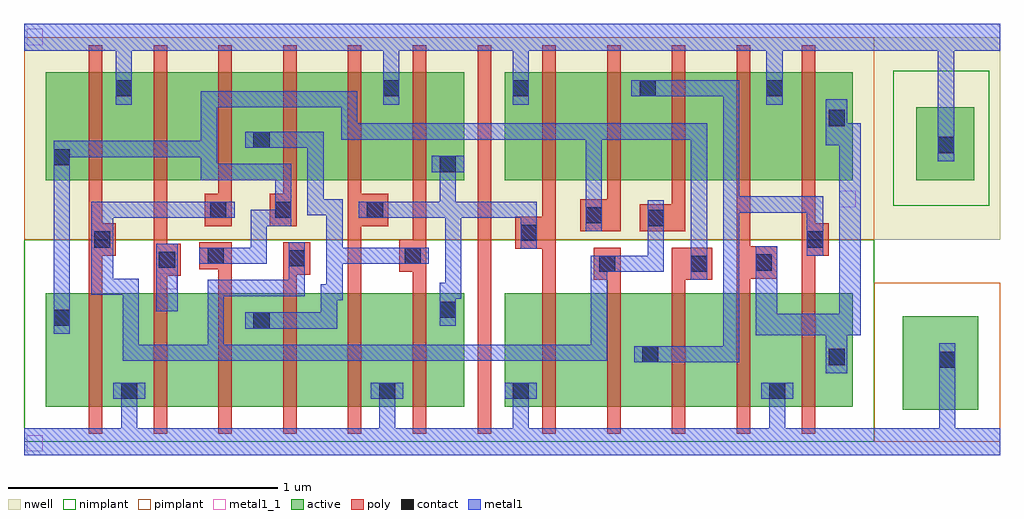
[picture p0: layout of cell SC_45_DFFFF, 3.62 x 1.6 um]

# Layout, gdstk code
import gdstk
lib = gdstk.Library(unit=1e-6, precision=5e-10)
def R(c, l, rs):  # rectangles x0, y0, x1, y1
    for r in rs: c.add(gdstk.rectangle(r[:2], r[2:], *l))
def A(c, l, x, y, w, h, nx, ny, dx, dy):  # array of equal rectangles
    R(c, l, [(x+i*dx, y+j*dy, x+i*dx+w, y+j*dy+h) for i in range(nx) for j in range(ny)])
active = (1, 0)
nwell = (2, 0)
poly = (3, 0)
nimplant = (4, 0)
pimplant = (5, 0)
contact = (6, 0)
metal1 = (7, 0)
metal1_1 = (7, 1)

tank = lib.new_cell('tank')
R(tank, active, [(0.105,0.12,0.385,0.465), (0.155,0.97,0.37,1.24)])
R(tank, nwell, [(0,0.75,0.465,1.5)])
R(tank, nimplant, [(0.07,0.875,0.425,1.375)])
R(tank, pimplant, [(0,0,0.465,0.59)])
R(tank, contact, [(0.24,0.275,0.3,0.335), (0.235,1.07,0.295,1.13)])
R(tank, metal1, [(0.24,0.245,0.3,0.365), (0.235,1.04,0.295,1.16)])
tank.add(gdstk.FlexPath([(0,1.5),(0.465,1.5)], 0.1, ends="flush", simple_path=True, layer=7, datatype=0))  # metal1
tank.add(gdstk.FlexPath([(0,0),(0.465,0)], 0.1, ends="flush", simple_path=True, layer=7, datatype=0))  # metal1
tank.add(gdstk.FlexPath([(0.265,1.16),(0.265,1.45)], 0.06, ends="flush", simple_path=True, layer=7, datatype=0))  # metal1
tank.add(gdstk.FlexPath([(0.27,0.245),(0.27,0.05)], 0.06, ends="flush", simple_path=True, layer=7, datatype=0))  # metal1

sc_45_dffff = lib.new_cell('SC_45_DFFFF')
R(sc_45_dffff, active, [(0.08,0.13,1.63,0.55), (1.78,0.13,3.07,0.55), (0.08,0.97,1.63,1.37), (1.78,0.97,3.07,1.37)])
R(sc_45_dffff, nwell, [(0,0.75,3.15,1.5)])
A(sc_45_dffff, poly, 1.2, 0.03, 0.05, 1.44, 4, 1, 0.24, 0)
R(sc_45_dffff, poly, [(0.24,0.03,0.29,1.47), (0.48,0.03,0.53,1.47), (0.72,0.03,0.77,0.74), (0.96,0.03,1.01,0.74), (2.16,0.03,2.21,0.72), (2.4,0.03,2.45,0.72), (2.64,0.03,2.69,1.47), (2.88,0.03,2.93,1.47), (2.11,0.6,2.21,0.72), (2.45,0.6,2.55,0.72), (2.69,0.605,2.79,0.725), (0.48,0.615,0.58,0.735), (0.96,0.62,1.06,0.74), (1.39,0.63,1.49,0.75), (0.65,0.64,0.77,0.74), (0.24,0.69,0.34,0.81), (2.88,0.69,2.98,0.81), (1.82,0.715,1.92,0.835), (2.06,0.78,2.16,0.9), (2.16,0.78,2.21,1.47), (2.28,0.78,2.4,0.88), (2.4,0.78,2.45,1.47), (0.67,0.8,0.77,0.92), (0.72,0.8,0.77,1.47), (0.91,0.8,1.01,0.92), (0.96,0.8,1.01,1.47), (1.25,0.8,1.35,0.92)])
R(sc_45_dffff, nimplant, [(0,0,3.15,0.75)])
R(sc_45_dffff, pimplant, [(0,0.75,3.15,1.5)])
A(sc_45_dffff, contact, 1.81, 1.28, 0.06, 0.06, 3, 1, 0.47, 0)
R(sc_45_dffff, contact, [(0.36,0.16,0.42,0.22), (1.315,0.16,1.375,0.22), (1.81,0.16,1.87,0.22), (2.76,0.16,2.82,0.22), (2.98,0.285,3.04,0.345), (2.29,0.295,2.35,0.355), (0.85,0.42,0.91,0.48), (0.11,0.43,0.17,0.49), (1.54,0.46,1.6,0.52), (2.13,0.63,2.19,0.69), (2.47,0.63,2.53,0.69), (2.71,0.635,2.77,0.695), (0.5,0.645,0.56,0.705), (0.98,0.65,1.04,0.71), (0.68,0.66,0.74,0.72), (1.41,0.66,1.47,0.72), (0.26,0.72,0.32,0.78), (2.9,0.72,2.96,0.78), (1.84,0.745,1.9,0.805), (2.31,0.8,2.37,0.86), (2.08,0.81,2.14,0.87), (0.69,0.83,0.75,0.89), (0.93,0.83,0.99,0.89), (1.27,0.83,1.33,0.89), (1.54,1,1.6,1.06), (0.11,1.025,0.17,1.085), (0.85,1.09,0.91,1.15), (2.98,1.17,3.04,1.23), (0.34,1.28,0.4,1.34), (1.33,1.28,1.39,1.34)])
R(sc_45_dffff, metal1, [(0.25,0.56,0.33,0.89)])
R(sc_45_dffff, metal1_1, [(0.01,-0.035,0.07,0.025), (0.505,0.565,0.565,0.625), (0.26,0.72,0.32,0.78), (3.02,0.87,3.08,0.93), (0.01,1.47,0.07,1.53)])
sc_45_dffff.add(gdstk.FlexPath([(3.15,1.5),(0,1.5)], 0.1, ends="flush", simple_path=True, layer=7, datatype=0))  # metal1
sc_45_dffff.add(gdstk.FlexPath([(3.15,0),(0,0)], 0.1, ends="flush", simple_path=True, layer=7, datatype=0))  # metal1
sc_45_dffff.add(gdstk.FlexPath([(3.01,1.27),(3.01,1.14)], 0.08, ends=(0, 0.04), simple_path=True, layer=7, datatype=0))  # metal1
sc_45_dffff.add(gdstk.FlexPath([(3.01,1.14),(3.06,1.14)], 0.08, ends="extended", simple_path=True, layer=7, datatype=0))  # metal1
sc_45_dffff.add(gdstk.FlexPath([(3.06,1.14),(3.06,0.435)], 0.08, ends="extended", simple_path=True, layer=7, datatype=0))  # metal1
sc_45_dffff.add(gdstk.FlexPath([(3.06,0.435),(3.01,0.435)], 0.08, ends="extended", simple_path=True, layer=7, datatype=0))  # metal1
sc_45_dffff.add(gdstk.FlexPath([(3.01,0.435),(3.01,0.255)], 0.08, ends=(0.04, 0), simple_path=True, layer=7, datatype=0))  # metal1
sc_45_dffff.add(gdstk.FlexPath([(2.85,0.19),(2.82,0.19)], 0.06, ends="flush", simple_path=True, layer=7, datatype=0))  # metal1
sc_45_dffff.add(gdstk.FlexPath([(2.79,0.22),(2.79,0.05)], 0.06, ends="flush", simple_path=True, layer=7, datatype=0))  # metal1
sc_45_dffff.add(gdstk.FlexPath([(2.78,1.45),(2.78,1.25)], 0.06, ends="flush", simple_path=True, layer=7, datatype=0))  # metal1
sc_45_dffff.add(gdstk.FlexPath([(2.75,0.435),(2.975,0.435)], 0.08, ends=(0.04, 0), simple_path=True, layer=7, datatype=0))  # metal1
sc_45_dffff.add(gdstk.FlexPath([(2.75,0.725),(2.75,0.435)], 0.08, ends=(0, 0.04), simple_path=True, layer=7, datatype=0))  # metal1
sc_45_dffff.add(gdstk.FlexPath([(2.73,0.19),(2.76,0.19)], 0.06, ends="flush", simple_path=True, layer=7, datatype=0))  # metal1
sc_45_dffff.add(gdstk.FlexPath([(2.34,0.66),(2.34,0.895)], 0.06, ends=(0.03, 0), simple_path=True, layer=7, datatype=0))  # metal1
sc_45_dffff.add(gdstk.FlexPath([(2.13,0.33),(2.13,0.66)], 0.06, ends="extended", simple_path=True, layer=7, datatype=0))  # metal1
sc_45_dffff.add(gdstk.FlexPath([(2.13,0.66),(2.34,0.66)], 0.06, ends="extended", simple_path=True, layer=7, datatype=0))  # metal1
sc_45_dffff.add(gdstk.FlexPath([(0.74,0.33),(2.13,0.33)], 0.06, ends=(0, 0.03), simple_path=True, layer=7, datatype=0))  # metal1
sc_45_dffff.add(gdstk.FlexPath([(1.9,0.19),(1.87,0.19)], 0.06, ends="flush", simple_path=True, layer=7, datatype=0))  # metal1
sc_45_dffff.add(gdstk.FlexPath([(1.84,0.22),(1.84,0.05)], 0.06, ends="flush", simple_path=True, layer=7, datatype=0))  # metal1
sc_45_dffff.add(gdstk.FlexPath([(1.84,1.45),(1.84,1.25)], 0.06, ends="flush", simple_path=True, layer=7, datatype=0))  # metal1
sc_45_dffff.add(gdstk.FlexPath([(1.78,0.19),(1.81,0.19)], 0.06, ends="flush", simple_path=True, layer=7, datatype=0))  # metal1
sc_45_dffff.add(gdstk.FlexPath([(1.405,0.19),(1.375,0.19)], 0.06, ends="flush", simple_path=True, layer=7, datatype=0))  # metal1
sc_45_dffff.add(gdstk.FlexPath([(1.36,1.45),(1.36,1.25)], 0.06, ends="flush", simple_path=True, layer=7, datatype=0))  # metal1
sc_45_dffff.add(gdstk.FlexPath([(1.345,0.22),(1.345,0.05)], 0.06, ends="flush", simple_path=True, layer=7, datatype=0))  # metal1
sc_45_dffff.add(gdstk.FlexPath([(1.285,0.19),(1.315,0.19)], 0.06, ends="flush", simple_path=True, layer=7, datatype=0))  # metal1
sc_45_dffff.add(gdstk.FlexPath([(0.33,0.86),(0.78,0.86)], 0.06, ends="flush", simple_path=True, layer=7, datatype=0))  # metal1
sc_45_dffff.add(gdstk.FlexPath([(0.53,0.485),(0.53,0.735)], 0.08, ends="flush", simple_path=True, layer=7, datatype=0))  # metal1
sc_45_dffff.add(gdstk.FlexPath([(0.45,0.19),(0.42,0.19)], 0.06, ends="flush", simple_path=True, layer=7, datatype=0))  # metal1
sc_45_dffff.add(gdstk.FlexPath([(1.01,0.57),(1.01,0.74)], 0.06, ends=(0.03, 0), simple_path=True, layer=7, datatype=0))  # metal1
sc_45_dffff.add(gdstk.FlexPath([(0.71,0.57),(1.01,0.57)], 0.06, ends="extended", simple_path=True, layer=7, datatype=0))  # metal1
sc_45_dffff.add(gdstk.FlexPath([(0.395,0.33),(0.71,0.33)], 0.06, ends="extended", simple_path=True, layer=7, datatype=0))  # metal1
sc_45_dffff.add(gdstk.FlexPath([(0.71,0.33),(0.71,0.57)], 0.06, ends="extended", simple_path=True, layer=7, datatype=0))  # metal1
sc_45_dffff.add(gdstk.FlexPath([(0.395,0.575),(0.395,0.33)], 0.06, ends="extended", simple_path=True, layer=7, datatype=0))  # metal1
sc_45_dffff.add(gdstk.FlexPath([(0.25,0.575),(0.395,0.575)], 0.06, ends=(0, 0.03), simple_path=True, layer=7, datatype=0))  # metal1
sc_45_dffff.add(gdstk.FlexPath([(0.39,0.22),(0.39,0.05)], 0.06, ends="flush", simple_path=True, layer=7, datatype=0))  # metal1
sc_45_dffff.add(gdstk.FlexPath([(0.37,1.45),(0.37,1.25)], 0.06, ends="flush", simple_path=True, layer=7, datatype=0))  # metal1
sc_45_dffff.add(gdstk.FlexPath([(0.33,0.19),(0.36,0.19)], 0.06, ends="flush", simple_path=True, layer=7, datatype=0))  # metal1
sc_45_dffff.add(gdstk.FlexPath([(2.93,0.69),(2.93,0.88)], 0.06, ends=(0, 0.03), simple_path=True, layer=7, datatype=0))  # metal1
sc_45_dffff.add(gdstk.FlexPath([(2.93,0.88),(2.65,0.88)], 0.06, ends=(0.03, 0), simple_path=True, layer=7, datatype=0))  # metal1
sc_45_dffff.add(gdstk.FlexPath([(2.26,0.325),(2.62,0.325)], 0.06, ends=(0, 0.03), simple_path=True, layer=7, datatype=0))  # metal1
sc_45_dffff.add(gdstk.FlexPath([(2.62,0.325),(2.62,1.31)], 0.06, ends="extended", simple_path=True, layer=7, datatype=0))  # metal1
sc_45_dffff.add(gdstk.FlexPath([(2.62,1.31),(2.25,1.31)], 0.06, ends=(0.03, 0), simple_path=True, layer=7, datatype=0))  # metal1
sc_45_dffff.add(gdstk.FlexPath([(2.5,1.15),(2.5,0.6)], 0.06, ends=(0.03, 0), simple_path=True, layer=7, datatype=0))  # metal1
sc_45_dffff.add(gdstk.FlexPath([(2.11,0.78),(2.11,1.14)], 0.06, ends="flush", simple_path=True, layer=7, datatype=0))  # metal1
sc_45_dffff.add(gdstk.FlexPath([(1.59,0.86),(1.87,0.86)], 0.06, ends="extended", simple_path=True, layer=7, datatype=0))  # metal1
sc_45_dffff.add(gdstk.FlexPath([(1.87,0.86),(1.87,0.715)], 0.06, ends=(0.03, 0), simple_path=True, layer=7, datatype=0))  # metal1
sc_45_dffff.add(gdstk.FlexPath([(1.24,0.86),(1.59,0.86)], 0.06, ends=(0, 0.03), simple_path=True, layer=7, datatype=0))  # metal1
sc_45_dffff.add(gdstk.FlexPath([(1.59,0.56),(1.59,0.86)], 0.06, ends="extended", simple_path=True, layer=7, datatype=0))  # metal1
sc_45_dffff.add(gdstk.FlexPath([(1.57,0.56),(1.59,0.56)], 0.06, ends="extended", simple_path=True, layer=7, datatype=0))  # metal1
sc_45_dffff.add(gdstk.FlexPath([(1.57,0.43),(1.57,0.56)], 0.06, ends=(0, 0.03), simple_path=True, layer=7, datatype=0))  # metal1
sc_45_dffff.add(gdstk.FlexPath([(1.57,1.03),(1.57,0.89)], 0.06, ends=(0.03, 0), simple_path=True, layer=7, datatype=0))  # metal1
sc_45_dffff.add(gdstk.FlexPath([(1.57,1.03),(1.63,1.03)], 0.06, ends=(0.03, 0), simple_path=True, layer=7, datatype=0))  # metal1
sc_45_dffff.add(gdstk.FlexPath([(1.51,1.03),(1.57,1.03)], 0.06, ends=(0, 0.03), simple_path=True, layer=7, datatype=0))  # metal1
sc_45_dffff.add(gdstk.FlexPath([(1.18,0.69),(1.5,0.69)], 0.06, ends="flush", simple_path=True, layer=7, datatype=0))  # metal1
sc_45_dffff.add(gdstk.FlexPath([(1.15,0.87),(1.08,0.87)], 0.06, ends="extended", simple_path=True, layer=7, datatype=0))  # metal1
sc_45_dffff.add(gdstk.FlexPath([(1.08,0.87),(1.08,1.12)], 0.06, ends="extended", simple_path=True, layer=7, datatype=0))  # metal1
sc_45_dffff.add(gdstk.FlexPath([(1.13,0.45),(0.82,0.45)], 0.06, ends=(0.03, 0), simple_path=True, layer=7, datatype=0))  # metal1
sc_45_dffff.add(gdstk.FlexPath([(1.13,0.555),(1.13,0.45)], 0.06, ends="extended", simple_path=True, layer=7, datatype=0))  # metal1
sc_45_dffff.add(gdstk.FlexPath([(1.15,0.555),(1.13,0.555)], 0.06, ends="extended", simple_path=True, layer=7, datatype=0))  # metal1
sc_45_dffff.add(gdstk.FlexPath([(1.15,0.825),(1.15,0.555)], 0.06, ends=(0, 0.03), simple_path=True, layer=7, datatype=0))  # metal1
sc_45_dffff.add(gdstk.FlexPath([(1.15,0.825),(1.15,0.87)], 0.06, ends=(0, 0.03), simple_path=True, layer=7, datatype=0))  # metal1
sc_45_dffff.add(gdstk.FlexPath([(1.08,1.12),(0.82,1.12)], 0.06, ends=(0.03, 0), simple_path=True, layer=7, datatype=0))  # metal1
sc_45_dffff.add(gdstk.FlexPath([(0.93,0.83),(0.87,0.83)], 0.06, ends=(0, 0.03), simple_path=True, layer=7, datatype=0))  # metal1
sc_45_dffff.add(gdstk.FlexPath([(0.87,0.83),(0.87,0.69)], 0.06, ends="extended", simple_path=True, layer=7, datatype=0))  # metal1
sc_45_dffff.add(gdstk.FlexPath([(0.87,0.69),(0.65,0.69)], 0.06, ends=(0.03, 0), simple_path=True, layer=7, datatype=0))  # metal1
sc_45_dffff.add(gdstk.FlexPath([(0.685,1),(0.96,1)], 0.06, ends="extended", simple_path=True, layer=7, datatype=0))  # metal1
sc_45_dffff.add(gdstk.FlexPath([(0.96,0.83),(0.96,0.8)], 0.06, ends=(0.03, 0), simple_path=True, layer=7, datatype=0))  # metal1
sc_45_dffff.add(gdstk.FlexPath([(1.205,1.27),(0.685,1.27)], 0.06, ends="extended", simple_path=True, layer=7, datatype=0))  # metal1
sc_45_dffff.add(gdstk.FlexPath([(1.205,1.15),(1.205,1.27)], 0.06, ends="extended", simple_path=True, layer=7, datatype=0))  # metal1
sc_45_dffff.add(gdstk.FlexPath([(2.53,1.15),(2.5,1.15)], 0.06, ends=(0, 0.03), simple_path=True, layer=7, datatype=0))  # metal1
sc_45_dffff.add(gdstk.FlexPath([(2.5,1.15),(1.205,1.15)], 0.06, ends="extended", simple_path=True, layer=7, datatype=0))  # metal1
sc_45_dffff.add(gdstk.FlexPath([(0.96,1),(0.96,0.83)], 0.06, ends="extended", simple_path=True, layer=7, datatype=0))  # metal1
sc_45_dffff.add(gdstk.FlexPath([(0.685,1.27),(0.685,1)], 0.06, ends="extended", simple_path=True, layer=7, datatype=0))  # metal1
sc_45_dffff.add(gdstk.FlexPath([(0.625,1.085),(0.14,1.085)], 0.06, ends="extended", simple_path=True, layer=7, datatype=0))  # metal1
sc_45_dffff.add(gdstk.FlexPath([(0.14,1.085),(0.14,0.4)], 0.06, ends=(0.03, 0), simple_path=True, layer=7, datatype=0))  # metal1
sc_45_dffff.add(gdstk.Reference(tank, (3.15,0)))

lib.write_gds('SC_45_DFFFF.gds')
